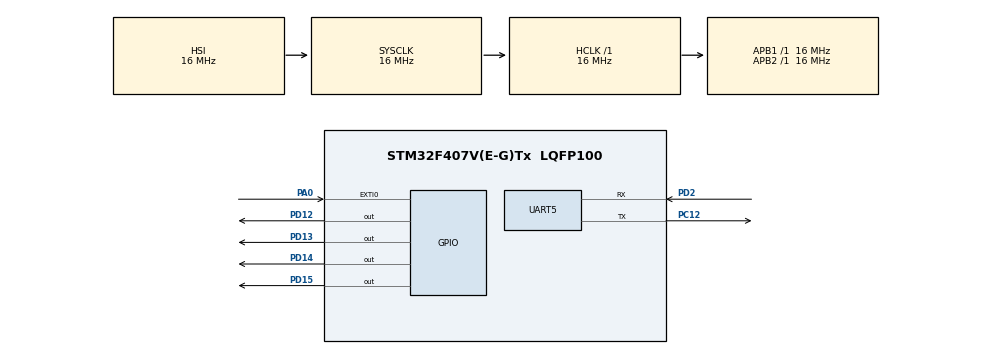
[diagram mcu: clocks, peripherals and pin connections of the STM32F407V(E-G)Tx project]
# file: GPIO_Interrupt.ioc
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Mcu.Family=STM32F4
Mcu.Name=STM32F407V(E-G)Tx
Mcu.Package=LQFP100
NVIC.EXTI0_IRQn=true\:0\:0\:false\:false\:true\:true\:true\:true
NVIC.PriorityGroup=NVIC_PRIORITYGROUP_4
PA0-WKUP.Signal=GPXTI0
PC12.Mode=Asynchronous
PC12.Signal=UART5_TX
PD12.Signal=GPIO_Output
PD13.Signal=GPIO_Output
PD14.Signal=GPIO_Output
PD15.Signal=GPIO_Output
PD2.Mode=Asynchronous
PD2.Signal=UART5_RX
ProjectManager.HeapSize=0x200
ProjectManager.StackSize=0x400
ProjectManager.TargetToolchain=MDK-ARM V5.32
RCC.AHBFreq_Value=16000000
RCC.APB1Freq_Value=16000000
RCC.APB2Freq_Value=16000000
RCC.CortexFreq_Value=16000000
RCC.HSE_VALUE=25000000
RCC.HSI_VALUE=16000000
RCC.LSE_VALUE=32768
RCC.SYSCLKFreq_VALUE=16000000
RCC.VCOOutputFreq_Value=192000000
UART5.VirtualMode=Asynchronous
board=custom

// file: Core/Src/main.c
/* USER CODE BEGIN Header */
/**
  ******************************************************************************
  * @file           : main.c
  * @brief          : Main program body
  ******************************************************************************
  * @attention
  *
  * Copyright (c) 2026 STMicroelectronics.
  * All rights reserved.
  *
  * This software is licensed under terms that can be found in the LICENSE file
  * in the root directory of this software component.
  * If no LICENSE file comes with this software, it is provided AS-IS.
  *
  ******************************************************************************
  */
/* USER CODE END Header */
#include "main.h"

UART_HandleTypeDef huart5;

void SystemClock_Config(void);
static void MX_GPIO_Init(void);
static void MX_UART5_Init(void);

int main(void)
{

  /* MCU Configuration--------------------------------------------------------*/

  /* Reset of all peripherals, Initializes the Flash interface and the Systick. */
  HAL_Init();

  /* Configure the system clock */
  SystemClock_Config();

  /* Initialize all configured peripherals */
  MX_GPIO_Init();
  MX_UART5_Init();

  /* Infinite loop */
  while (1)
  {

  }
}

void SystemClock_Config(void)
{
  RCC_OscInitTypeDef RCC_OscInitStruct = {0};
  RCC_ClkInitTypeDef RCC_ClkInitStruct = {0};

  /** Configure the main internal regulator output voltage
  */
  __HAL_RCC_PWR_CLK_ENABLE();
  __HAL_PWR_VOLTAGESCALING_CONFIG(PWR_REGULATOR_VOLTAGE_SCALE1);

  /** Initializes the RCC Oscillators according to the specified parameters
  * in the RCC_OscInitTypeDef structure.
  */
  RCC_OscInitStruct.OscillatorType = RCC_OSCILLATORTYPE_HSI;
  RCC_OscInitStruct.HSIState = RCC_HSI_ON;
  RCC_OscInitStruct.HSICalibrationValue = RCC_HSICALIBRATION_DEFAULT;
  RCC_OscInitStruct.PLL.PLLState = RCC_PLL_NONE;
  if (HAL_RCC_OscConfig(&RCC_OscInitStruct) != HAL_OK)
  {
    Error_Handler();
  }

  /** Initializes the CPU, AHB and APB buses clocks
  */
  RCC_ClkInitStruct.ClockType = RCC_CLOCKTYPE_HCLK|RCC_CLOCKTYPE_SYSCLK
                              |RCC_CLOCKTYPE_PCLK1|RCC_CLOCKTYPE_PCLK2;
  RCC_ClkInitStruct.SYSCLKSource = RCC_SYSCLKSOURCE_HSI;
  RCC_ClkInitStruct.AHBCLKDivider = RCC_SYSCLK_DIV1;
  RCC_ClkInitStruct.APB1CLKDivider = RCC_HCLK_DIV1;
  RCC_ClkInitStruct.APB2CLKDivider = RCC_HCLK_DIV1;

  if (HAL_RCC_ClockConfig(&RCC_ClkInitStruct, FLASH_LATENCY_0) != HAL_OK)
  {
    Error_Handler();
  }
}

static void MX_UART5_Init(void)
{

  huart5.Instance = UART5;
  huart5.Init.BaudRate = 115200;
  huart5.Init.WordLength = UART_WORDLENGTH_8B;
  huart5.Init.StopBits = UART_STOPBITS_1;
  huart5.Init.Parity = UART_PARITY_NONE;
  huart5.Init.Mode = UART_MODE_TX_RX;
  huart5.Init.HwFlowCtl = UART_HWCONTROL_NONE;
  huart5.Init.OverSampling = UART_OVERSAMPLING_16;
  if (HAL_UART_Init(&huart5) != HAL_OK)
  {
    Error_Handler();
  }

}

static void MX_GPIO_Init(void)
{
  GPIO_InitTypeDef GPIO_InitStruct = {0};

  /* GPIO Ports Clock Enable */
  __HAL_RCC_GPIOA_CLK_ENABLE();
  __HAL_RCC_GPIOD_CLK_ENABLE();
  __HAL_RCC_GPIOC_CLK_ENABLE();

  /*Configure GPIO pin Output Level */
  HAL_GPIO_WritePin(GPIOD, GPIO_PIN_12|GPIO_PIN_13|GPIO_PIN_14|GPIO_PIN_15, GPIO_PIN_RESET);

  /*Configure GPIO pin : PA0 */
  GPIO_InitStruct.Pin = GPIO_PIN_0;
  GPIO_InitStruct.Mode = GPIO_MODE_IT_RISING;
  GPIO_InitStruct.Pull = GPIO_NOPULL;
  HAL_GPIO_Init(GPIOA, &GPIO_InitStruct);

  /*Configure GPIO pins : PD12 PD13 PD14 PD15 */
  GPIO_InitStruct.Pin = GPIO_PIN_12|GPIO_PIN_13|GPIO_PIN_14|GPIO_PIN_15;
  GPIO_InitStruct.Mode = GPIO_MODE_OUTPUT_PP;
  GPIO_InitStruct.Pull = GPIO_NOPULL;
  GPIO_InitStruct.Speed = GPIO_SPEED_FREQ_LOW;
  HAL_GPIO_Init(GPIOD, &GPIO_InitStruct);

  /* EXTI interrupt init*/
  HAL_NVIC_SetPriority(EXTI0_IRQn, 0, 0);
  HAL_NVIC_EnableIRQ(EXTI0_IRQn);

}

/* USER CODE BEGIN 4 */
volatile int BTN_PRESSED_COUNT = 0;
uint16_t PIN_NUM1 = 0;
uint16_t PIN_NUM2 = 0;

void HAL_GPIO_EXTI_Callback(uint16_t GPIO_Pin)
{
	static uint32_t last_tick = 0;
  uint32_t now_tick = HAL_GetTick();

  if (GPIO_Pin == GPIO_PIN_0)
  {
		if(now_tick - last_tick < 200)
		{
			return;
		}
		last_tick = now_tick;

    if (BTN_PRESSED_COUNT < 2)
    {
			PIN_NUM1 = (GPIO_PIN_12 << BTN_PRESSED_COUNT);
			PIN_NUM2 = (GPIO_PIN_14 << BTN_PRESSED_COUNT);

      HAL_GPIO_WritePin(GPIOD, PIN_NUM1 | PIN_NUM2, GPIO_PIN_SET);
      BTN_PRESSED_COUNT++;
    }
    else
    {
			BTN_PRESSED_COUNT = 0;
      HAL_GPIO_WritePin(GPIOD, GPIO_PIN_12 | GPIO_PIN_13 | GPIO_PIN_14 | GPIO_PIN_15, GPIO_PIN_RESET);
    }
  }
}
/* USER CODE END 4 */

void Error_Handler(void)
{
  __disable_irq();
  while (1)
  {
  }
}
